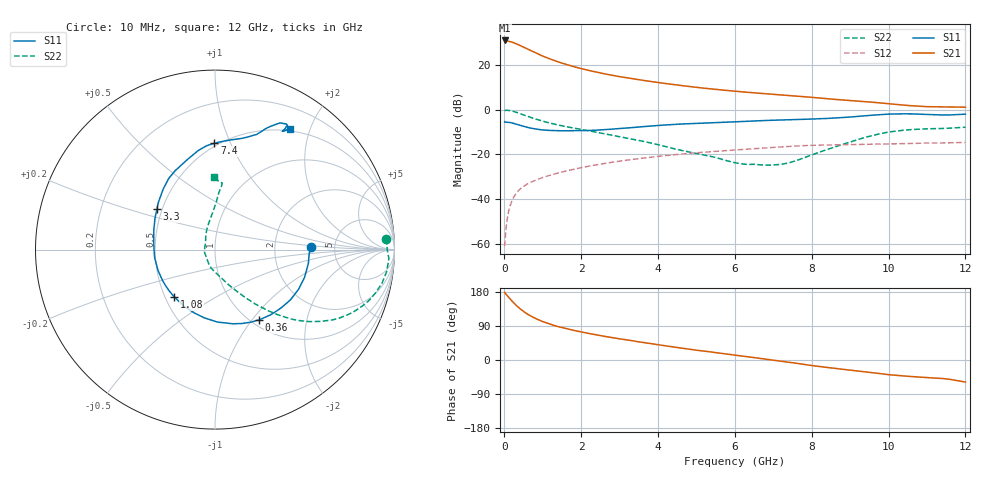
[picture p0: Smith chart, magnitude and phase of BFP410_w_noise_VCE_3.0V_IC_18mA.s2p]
! Infineon Technologies  Discrete & RF Semiconductors
! BFP410
! VCE =  3.0 V,  IC =  18 mA
! Common Emitter S-Parameters:  Nov 2015
# GHz  S  MA  R  50
!  f  S11  S21  S12  S22
! GHz  MAG  ANG  MAG  ANG  MAG  ANG  MAG  ANG
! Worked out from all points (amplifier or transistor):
!   243 points, 10 MHz to 12 GHz, reference 50 ohm
!   highest |S21| = 30.8 dB at 10 MHz (marker M1)
!   |S21| within 3 dB of that: start of sweep to 503.4 MHz
!   unconditionally stable (mu >= 1): 1.962 GHz to end of sweep
!   at 240 MHz: K = 0.25, MSG = 34.5 dB, |S12| = -39.3 dB
!   at 1.84 GHz: K = 0.98, MSG = 22.8 dB, |S12| = -26.5 dB
!   at 12 GHz: K = 1.03, MAG = 6.9 dB, |S12| = -14.6 dB
!   lowest NFmin = 1.63 dB at 900 MHz
!   S11 on the Smith chart (normalised r, x): 10 MHz: 3.28, +0.14; 360 MHz: 1.09, -1.08; 1.08 GHz: 0.56, -0.34; 3.3 GHz: 0.47, +0.25; 7.4 GHz: 0.48, +0.87; 12 GHz: 0.47, +1.69
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0.01  0.5338 1.6  34.83 178.9  0.0009 101.7  0.9559 3.6
0.02  0.5252 -2.6  34.52 176.8  0.0011 96.2  0.9598 -0.1
0.09  0.5221 -15.4  33.72 168.5  0.0043 83.5  0.9651 -6.4
0.15  0.5153 -25.5  32.89 161.4  0.007 80.3  0.9498 -11.2
0.2  0.5049 -33.8  31.98 155.9  0.0092 77.2  0.9289 -14.8
0.3  0.4778 -49.3  29.7 145.4  0.0131 72.6  0.8768 -21.2
0.36  0.4613 -58.1  28.2 139.8  0.0152 69.8  0.8426 -24.6
0.5  0.4248 -76.6  24.74 128.2  0.0194 65.4  0.7628 -30.9
0.6  0.4038 -88.2  22.44 121.2  0.0219 63.4  0.7106 -34.3
0.7  0.3848 -98.9  20.42 115.4  0.0242 61.9  0.6636 -37.2
0.9  0.3608 -117.0  17.04 105.5  0.0285 59.8  0.5859 -41.7
1.08  0.3475 -130.6  14.67 98.5  0.0321 58.8  0.5295 -44.6
1.42  0.3382 -151.2  11.46 87.7  0.0389 57.4  0.45 -49.0
2.02  0.3391 -177.3  8.143 73.8  0.0511 54.7  0.3598 -54.5
2.6  0.3569 162.8  6.297 62.6  0.0628 51.0  0.2895 -59.8
3.3  0.3952 144.8  4.939 51.4  0.0767 45.9  0.2227 -67.0
4.1  0.4486 129.1  3.912 38.9  0.0925 39.5  0.1575 -78.5
6.1  0.5381 104.0  2.527 11.7  0.1272 22.6  0.0631 -142.2
7.4  0.5928 90.3  2.066 -5.8  0.1508 10.7  0.0646 145.6
8.2  0.6246 79.6  1.812 -17.0  0.161 1.7  0.1124 114.8
10.2  0.799 61.6  1.303 -40.4  0.1725 -14.6  0.3318 85.3
12  0.7907 58.3  1.131 -58.2  0.1855 -30.2  0.405 90.5
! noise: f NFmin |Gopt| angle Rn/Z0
0.45  1.66  0.11  -153  0.17
0.9  1.63  0.12  -155  0.16
1.8  1.76  0.16  -140  0.17
2.4  1.75  0.21  -123  0.24
5.5  2.63  0.42  -104  0.39
10  3.74  0.69  -46  2.37
